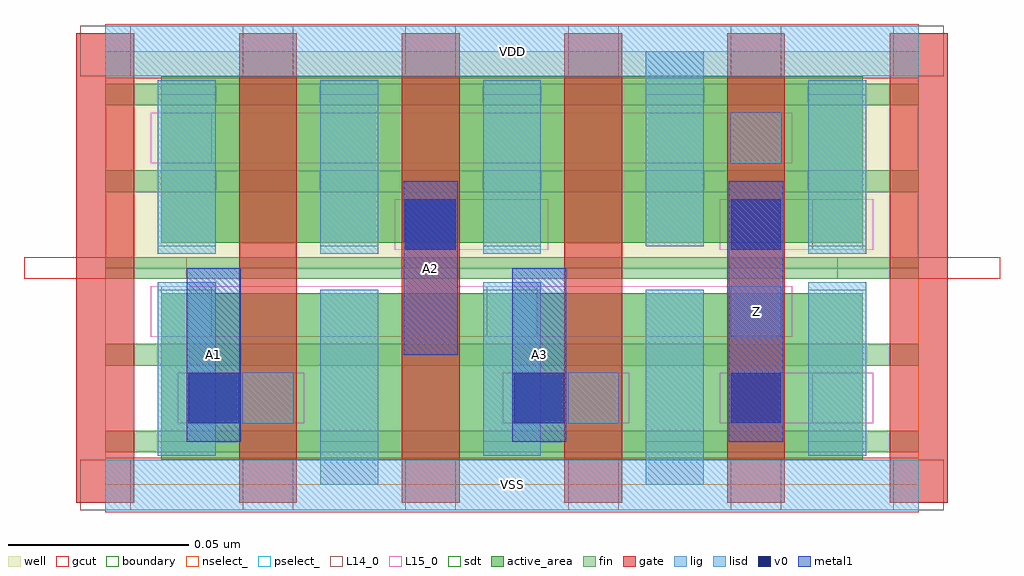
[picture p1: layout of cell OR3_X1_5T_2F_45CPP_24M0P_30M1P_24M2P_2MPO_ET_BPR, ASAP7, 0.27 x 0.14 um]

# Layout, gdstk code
import gdstk
lib = gdstk.Library(unit=1e-6, precision=2.5e-10)
def R(c, l, rs):  # rectangles x0, y0, x1, y1
    for r in rs: c.add(gdstk.rectangle(r[:2], r[2:], *l))
def A(c, l, x, y, w, h, nx, ny, dx, dy):  # array of equal rectangles
    R(c, l, [(x+i*dx, y+j*dy, x+i*dx+w, y+j*dy+h) for i in range(nx) for j in range(ny)])
well = (1, 0)
fin = (2, 0)
gate = (7, 0)
gcut = (10, 0)
active_area = (11, 0)
nselect_ = (12, 0)
pselect_ = (13, 0)
L14_0 = (14, 0)
L15_0 = (15, 0)
lig = (16, 0)
lisd = (17, 0)
v0 = (18, 0)
metal1 = (19, 0)
sdt = (88, 0)
boundary = (100, 0)

or3_x1_5t_2f_45cpp_24m0p = lib.new_cell('OR3_X1_5T_2F_45CPP_24M0P_30M1P_24M2P_2MPO_ET_BPR')
R(or3_x1_5t_2f_45cpp_24m0p, well, [(0,0.06,0.225,0.12)])
A(or3_x1_5t_2f_45cpp_24m0p, fin, 0, 0.009, 0.225, 0.006, 1, 5, 0, 0.024)
A(or3_x1_5t_2f_45cpp_24m0p, gate, -0.008, -0.005, 0.016, 0.13, 6, 1, 0.045, 0)
R(or3_x1_5t_2f_45cpp_24m0p, gcut, [(0,-0.0075,0.225,0.0075), (-0.0225,0.057,0.0225,0.063), (0.2025,0.057,0.2475,0.063), (0,0.1125,0.225,0.1275)])
A(or3_x1_5t_2f_45cpp_24m0p, active_area, 0.0155, 0.007, 0.059, 0.046, 4, 2, 0.045, 0.06)
R(or3_x1_5t_2f_45cpp_24m0p, nselect_, [(0,0,0.225,0.06)])
R(or3_x1_5t_2f_45cpp_24m0p, pselect_, [(0,0.06,0.225,0.12)])
A(or3_x1_5t_2f_45cpp_24m0p, L14_0, -0.007, -0.007, 0.014, 0.014, 6, 2, 0.045, 0.12)
R(or3_x1_5t_2f_45cpp_24m0p, L14_0, [(0.038,0.017,0.052,0.031), (0.128,0.017,0.142,0.031), (0.1955,0.017,0.2095,0.031), (0.0155,0.041,0.0295,0.055), (0.1055,0.041,0.1195,0.055), (0.173,0.041,0.187,0.055), (0.083,0.065,0.097,0.079), (0.1955,0.065,0.2095,0.079), (0.0155,0.089,0.0295,0.103), (0.173,0.089,0.187,0.103)])
R(or3_x1_5t_2f_45cpp_24m0p, L15_0, [(0,-0.007,0.225,0.007), (0.02,0.017,0.055,0.031), (0.11,0.017,0.145,0.031), (0.17,0.017,0.2125,0.031), (0.0125,0.041,0.19,0.055), (0.08,0.065,0.1225,0.079), (0.17,0.065,0.2125,0.079), (0.0125,0.089,0.19,0.103), (0,0.113,0.225,0.127)])
R(or3_x1_5t_2f_45cpp_24m0p, lig, [(0,-0.007,0.225,0.007), (0.038,0.017,0.052,0.031), (0.128,0.017,0.142,0.031), (0.173,0.041,0.187,0.055), (0.083,0.065,0.097,0.079), (0.173,0.089,0.187,0.103), (0,0.113,0.225,0.127)])
A(or3_x1_5t_2f_45cpp_24m0p, lisd, 0.0145, 0.008, 0.016, 0.048, 3, 1, 0.09, 0)
A(or3_x1_5t_2f_45cpp_24m0p, lisd, 0.0145, 0.064, 0.016, 0.048, 3, 1, 0.045, 0)
R(or3_x1_5t_2f_45cpp_24m0p, lisd, [(0.0595,0,0.0755,0.054), (0.1495,0,0.1655,0.054), (0.1945,0.064,0.2105,0.112), (0.1495,0.066,0.1655,0.12)])
R(or3_x1_5t_2f_45cpp_24m0p, v0, [(0.023,0.017,0.037,0.031), (0.113,0.017,0.127,0.031), (0.173,0.017,0.187,0.031), (0.083,0.065,0.097,0.079), (0.173,0.065,0.187,0.079)])
R(or3_x1_5t_2f_45cpp_24m0p, metal1, [(0.0225,0.012,0.0375,0.06), (0.1125,0.012,0.1275,0.06), (0.1725,0.012,0.1875,0.084), (0.0825,0.036,0.0975,0.084)])
A(or3_x1_5t_2f_45cpp_24m0p, sdt, 0.0145, 0.012, 0.016, 0.042, 5, 2, 0.045, 0.054)
R(or3_x1_5t_2f_45cpp_24m0p, boundary, [(0,0,0.225,0.12)])
or3_x1_5t_2f_45cpp_24m0p.add(gdstk.Label('Z', (0.18,0.048), layer=19, texttype=251))
or3_x1_5t_2f_45cpp_24m0p.add(gdstk.Label('A1', (0.03,0.036), layer=19, texttype=251))
or3_x1_5t_2f_45cpp_24m0p.add(gdstk.Label('A2', (0.09,0.06), layer=19, texttype=251))
or3_x1_5t_2f_45cpp_24m0p.add(gdstk.Label('A3', (0.12,0.036), layer=19, texttype=251))
or3_x1_5t_2f_45cpp_24m0p.add(gdstk.Label('VDD', (0.1125,0.12), layer=15, texttype=251))
or3_x1_5t_2f_45cpp_24m0p.add(gdstk.Label('VSS', (0.1125,0), layer=15, texttype=251))
or3_x1_5t_2f_45cpp_24m0p.add(gdstk.Label('VDD', (0.1125,0.12), layer=1, texttype=251))
or3_x1_5t_2f_45cpp_24m0p.add(gdstk.Label('VSS', (0.1125,0), layer=3, texttype=251))

lib.write_gds('OR3_X1_5T_2F_45CPP_24M0P_30M1P_24M2P_2MPO_ET_BPR.gds')
